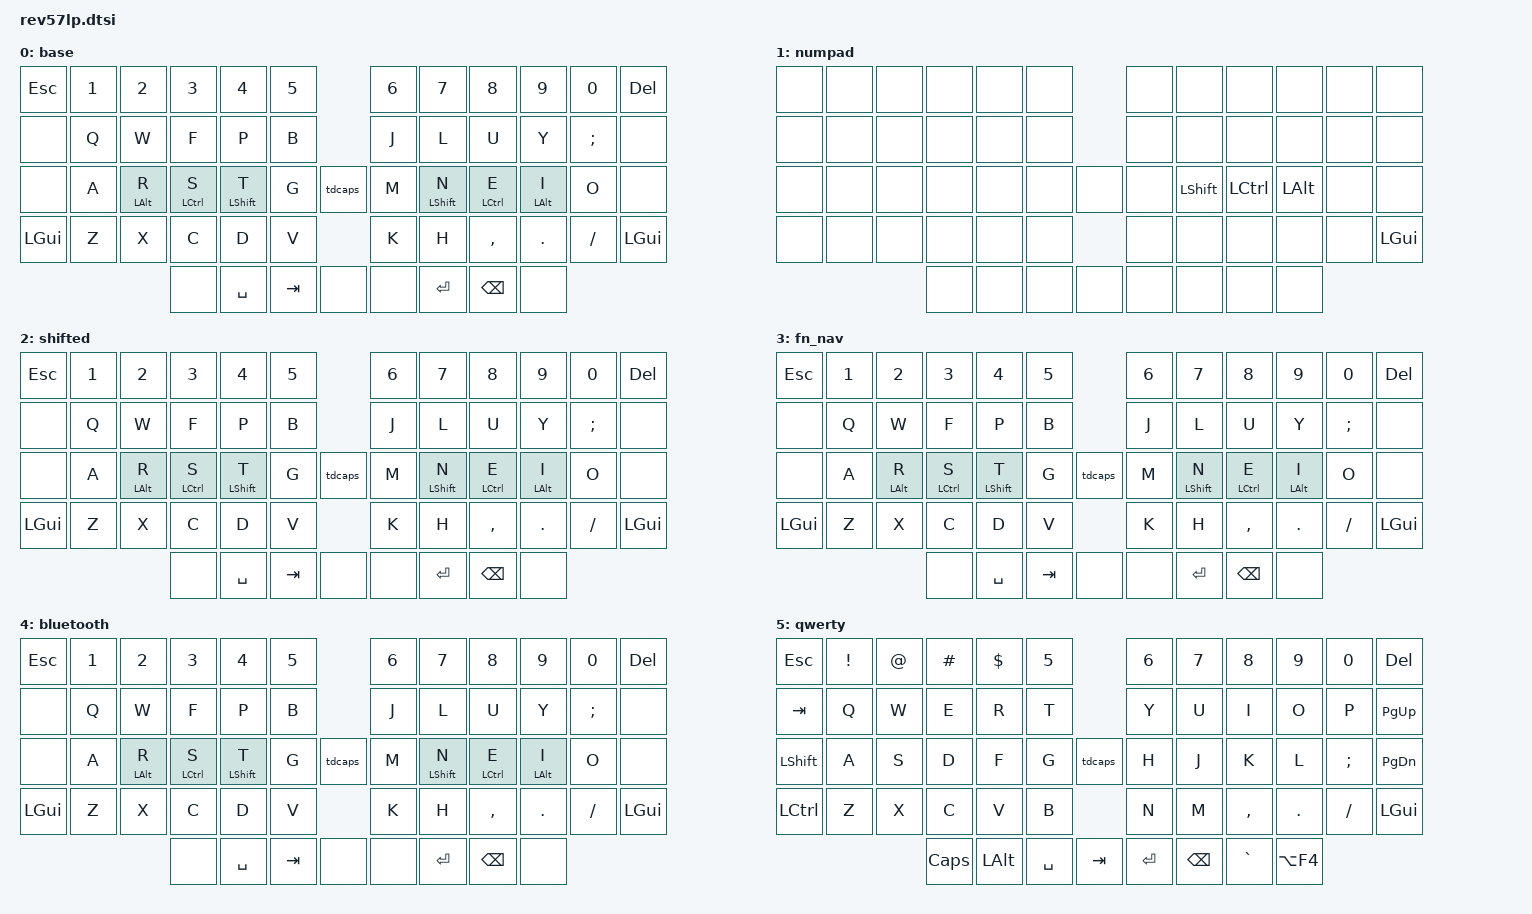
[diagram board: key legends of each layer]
/*
 * Copyright (c) 2022 The ZMK Contributors
 *
 * SPDX-License-Identifier: MIT
 */

#include <behaviors.dtsi>
#include <dt-bindings/zmk/keys.h>
#include <dt-bindings/zmk/bt.h>
#include <dt-bindings/zmk/outputs.h>
#include <macros.dtsi>

#define BASE_LAYER      0
#define SHIFTED_LAYER   1
#define NUMPAD_LAYER    2
#define FN_NAV_LAYER    3
#define BLUETOOTH_LAYER 4
#define QWERTY_LAYER    5

/ {
    behaviors {
        
        td_lt_n: tap_dance_layer_tap_n {
            compatible = "zmk,behavior-tap-dance";
            label = "TAP_DANCE_MOD_TAP_N";
            #binding-cells = <0>;
            tapping-term-ms = <150>;
            bindings = <&kp N>, <&mt LSFHT N>;
        };

        hm: balanced_homerow_mods {
            compatible = "zmk,behavior-hold-tap";
            label = "BALANCED_HOMEROW_MODS";
            #binding-cells = <2>;
            tapping-term-ms = <200>;
            quick-tap-ms = <0>;
            flavor = "balanced";
            bindings = <&kp>, <&kp>;
        };

        tdcaps: tap_dance_caps {
            compatible = "zmk,behavior-tap-dance";
            label = "TAP_DANCE_CAPS";
            #binding-cells = <0>;
            tapping-term-ms = <200>;
            bindings = <&caps_word>, <&kp CAPSLOCK>, <&none>;
        };
    };

    keymap {
        compatible = "zmk,keymap";

        base {
            bindings = <
                &kp ESC     &kp N1      &kp N2      &kp N3      &kp N4      &kp N5                            &kp N6      &kp N7      &kp N8      &kp N9     &kp N0      &kp DELETE    
                &none       &kp Q       &kp W       &kp F       &kp P       &kp B                             &kp J       &kp L       &kp U       &kp Y      &kp SEMI    &none    
                &none       &kp A       &hm LALT R  &hm LCTRL S &hm LSHFT T &kp G           &tdcaps           &kp M       &hm LSHFT N &hm LCTRL E &hm LALT I &kp O       &none    
                &kp LGUI    &kp Z       &kp X       &kp C       &kp D       &kp V                             &kp K       &kp H       &kp COMMA   &kp DOT    &kp SLASH   &kp LGUI
                                                    &none       &kp SPACE   &kp TAB     &none     &none       &kp ENTER   &kp BSPC    &none
                >;
        };

        numpad {
            bindings = <
                &none       &none       &none       &none      &none       &none                              &none       &none       &none       &none      &none       &none    
                &none       &none       &none       &none      &none       &none                              &none       &none       &none       &none      &none       &none    
                &none       &none       &none       &none      &none       &none            &none             &none       &kp LSHFT   &kp LCTRL   &kp LALT   &none       &none    
                &none       &none       &none       &none      &none       &none                              &none       &none       &none       &none      &none       &kp LGUI
                                                    &none      &none       &none       &none      &none       &none       &none       &none
                >;
        };

        shifted {
            bindings = <
                &kp ESC     &kp N1      &kp N2      &kp N3      &kp N4      &kp N5                            &kp N6      &kp N7      &kp N8      &kp N9     &kp N0      &kp DELETE    
                &none       &kp Q       &kp W       &kp F       &kp P       &kp B                             &kp J       &kp L       &kp U       &kp Y      &kp SEMI    &none    
                &none       &kp A       &hm LALT R  &hm LCTRL S &hm LSHFT T &kp G           &tdcaps           &kp M       &hm LSHFT N &hm LCTRL E &hm LALT I &kp O       &none    
                &kp LGUI    &kp Z       &kp X       &kp C       &kp D       &kp V                             &kp K       &kp H       &kp COMMA   &kp DOT    &kp SLASH   &kp LGUI
                                                    &none       &kp SPACE   &kp TAB     &none     &none       &kp ENTER   &kp BSPC    &none
                >;
        };


        fn_nav {
            bindings = <
                &kp ESC     &kp N1      &kp N2      &kp N3      &kp N4      &kp N5                            &kp N6      &kp N7      &kp N8      &kp N9     &kp N0      &kp DELETE    
                &none       &kp Q       &kp W       &kp F       &kp P       &kp B                             &kp J       &kp L       &kp U       &kp Y      &kp SEMI    &none    
                &none       &kp A       &hm LALT R  &hm LCTRL S &hm LSHFT T &kp G           &tdcaps           &kp M       &hm LSHFT N &hm LCTRL E &hm LALT I &kp O       &none    
                &kp LGUI    &kp Z       &kp X       &kp C       &kp D       &kp V                             &kp K       &kp H       &kp COMMA   &kp DOT    &kp SLASH   &kp LGUI
                                                    &none       &kp SPACE   &kp TAB     &none     &none       &kp ENTER   &kp BSPC    &none
                >;
        };

        bluetooth {
            bindings = <
                &kp ESC     &kp N1      &kp N2      &kp N3      &kp N4      &kp N5                            &kp N6      &kp N7      &kp N8      &kp N9     &kp N0      &kp DELETE    
                &none       &kp Q       &kp W       &kp F       &kp P       &kp B                             &kp J       &kp L       &kp U       &kp Y      &kp SEMI    &none    
                &none       &kp A       &hm LALT R  &hm LCTRL S &hm LSHFT T &kp G           &tdcaps           &kp M       &hm LSHFT N &hm LCTRL E &hm LALT I &kp O       &none    
                &kp LGUI    &kp Z       &kp X       &kp C       &kp D       &kp V                             &kp K       &kp H       &kp COMMA   &kp DOT    &kp SLASH   &kp LGUI
                                                    &none       &kp SPACE   &kp TAB     &none     &none       &kp ENTER   &kp BSPC    &none
                >;
        };

        qwerty {
            bindings = <
                &kp ESC     &kp EXCL    &kp AT      &kp HASH    &kp DOLLAR  &kp N5                            &kp N6      &kp N7      &kp N8      &kp N9     &kp N0      &kp DELETE    
                &kp TAB     &kp Q       &kp W       &kp E       &kp R       &kp T                             &kp Y       &kp U       &kp I       &kp O      &kp P       &kp PG_UP    
                &kp LSHFT   &kp A       &kp S       &kp D       &kp F       &kp G           &tdcaps           &kp H       &kp J       &kp K       &kp L      &kp SEMI    &kp PG_DN
                &kp LCTRL   &kp Z       &kp X       &kp C       &kp V       &kp B                             &kp N       &kp M       &kp COMMA   &kp DOT    &kp SLASH   &kp LGUI
                                                    &kp CAPS    &kp LALT    &kp SPACE   &kp TAB   &kp ENTER   &kp BSPC    &kp GRAVE   &kp LA(F4)
                >;
        };
    };
};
